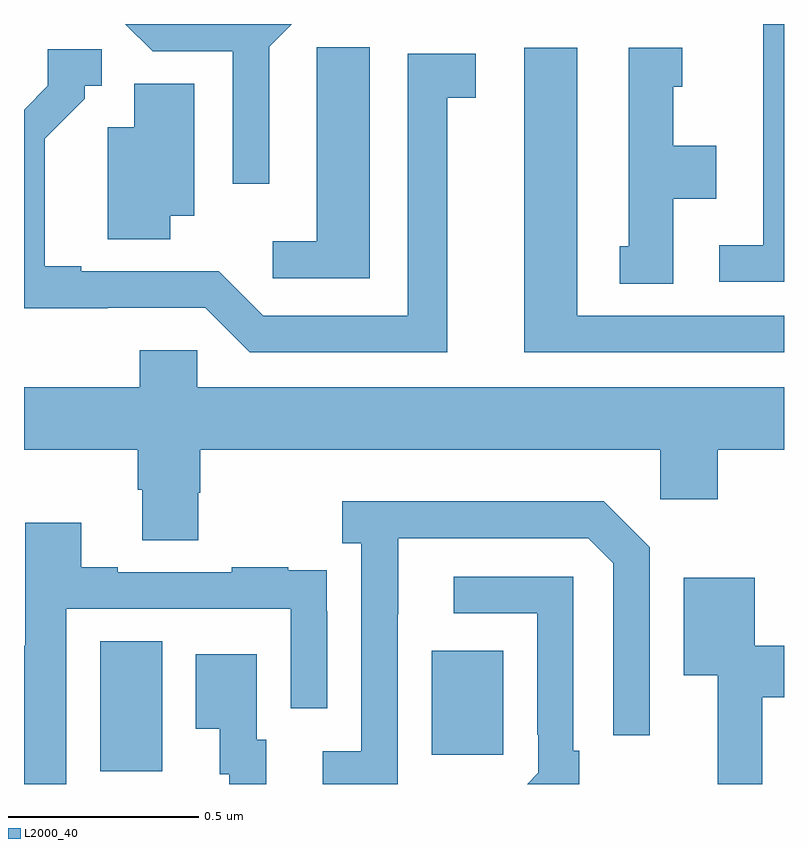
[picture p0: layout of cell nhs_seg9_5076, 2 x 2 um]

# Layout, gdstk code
import gdstk
lib = gdstk.Library(unit=1e-6, precision=1e-09)
def R(c, l, rs):  # rectangles x0, y0, x1, y1
    for r in rs: c.add(gdstk.rectangle(r[:2], r[2:], *l))
def P(c, l, *ps):  # polygons
    for p in ps: c.add(gdstk.Polygon(p, *l))
L2000_40 = (2000, 40)

nhs_seg9_5076 = lib.new_cell('nhs_seg9_5076')
R(nhs_seg9_5076, L2000_40, [(174.2,1235.533,174.364,1235.876), (175.073,1235.577,175.261,1235.851)])
P(nhs_seg9_5076, L2000_40, [(174.645,1237.44),(174.705,1237.5),(174.267,1237.5),(174.339,1237.428),(174.549,1237.428),(174.549,1237.08),(174.645,1237.08)],
  [(176,1237.5),(175.946,1237.5),(175.946,1236.918),(175.83,1236.918),(175.83,1236.822),(176,1236.822)],
  [(174.91,1237.439),(174.771,1237.439),(174.771,1237.331),(174.77,1237.331),(174.77,1236.928),(174.654,1236.928),(174.654,1236.831),(174.91,1236.831)],
  [(176,1236.732),(175.456,1236.732),(175.456,1237.438),(175.316,1237.438),(175.316,1236.636),(176,1236.636)],
  [(175.708,1237.04),(175.822,1237.04),(175.822,1237.18),(175.708,1237.18),(175.708,1237.335),(175.732,1237.335),(175.732,1237.438),(175.592,1237.438),(175.592,1236.915),(175.568,1236.915),(175.568,1236.817),(175.708,1236.817)],
  [(175.114,1237.306),(175.189,1237.306),(175.189,1237.422),(175.01,1237.422),(175.01,1236.732),(174.63,1236.732),(174.512,1236.85),(174.416,1236.85),(174.416,1236.849),(174.151,1236.849),(174.151,1236.862),(174.055,1236.862),(174.055,1237.198),(174.16,1237.303),(174.16,1237.338),(174.205,1237.338),(174.205,1237.434),(174.063,1237.434),(174.063,1237.338),(174,1237.275),(174,1236.752),(174.221,1236.752),(174.221,1236.753),(174.477,1236.753),(174.594,1236.636),(175.114,1236.636)],
  [(174.385,1236.995),(174.448,1236.995),(174.448,1237.343),(174.29,1237.343),(174.29,1237.228),(174.221,1237.228),(174.221,1236.934),(174.385,1236.934)],
  [(174.459,1236.267),(174.464,1236.267),(174.464,1236.38),(175.674,1236.38),(175.674,1236.249),(175.826,1236.249),(175.826,1236.38),(176,1236.38),(176,1236.544),(174.456,1236.544),(174.456,1236.642),(174.305,1236.642),(174.305,1236.544),(174,1236.544),(174,1236.38),(174.299,1236.38),(174.299,1236.274),(174.311,1236.274),(174.311,1236.142),(174.459,1236.142)],
  [(174.984,1235.947),(174.985,1235.947),(174.985,1236.147),(175.485,1236.147),(175.551,1236.081),(175.551,1235.628),(175.647,1235.628),(175.647,1236.123),(175.526,1236.244),(174.837,1236.244),(174.837,1236.134),(174.888,1236.134),(174.888,1235.586),(174.786,1235.586),(174.786,1235.5),(174.984,1235.5)],
  [(174.111,1235.961),(174.702,1235.961),(174.702,1235.7),(174.798,1235.7),(174.798,1235.954),(174.797,1235.954),(174.797,1236.063),(174.695,1236.063),(174.695,1236.07),(174.547,1236.07),(174.547,1236.057),(174.247,1236.057),(174.247,1236.07),(174.151,1236.07),(174.151,1236.187),(174.003,1236.187),(174.003,1235.864),(174,1235.864),(174,1235.5),(174.111,1235.5)],
  [(175.461,1235.587),(175.446,1235.587),(175.446,1236.045),(175.131,1236.045),(175.131,1235.949),(175.35,1235.949),(175.35,1235.629),(175.353,1235.629),(175.353,1235.529),(175.324,1235.5),(175.461,1235.5)],
  [(175.943,1235.728),(176,1235.728),(176,1235.864),(175.923,1235.864),(175.923,1236.043),(175.736,1236.043),(175.736,1235.786),(175.826,1235.786),(175.826,1235.5),(175.943,1235.5)],
  [(174.637,1235.616),(174.613,1235.616),(174.613,1235.842),(174.452,1235.842),(174.452,1235.645),(174.515,1235.645),(174.515,1235.526),(174.54,1235.526),(174.54,1235.5),(174.637,1235.5)])

lib.write_gds('nhs_seg9_5076.gds')
